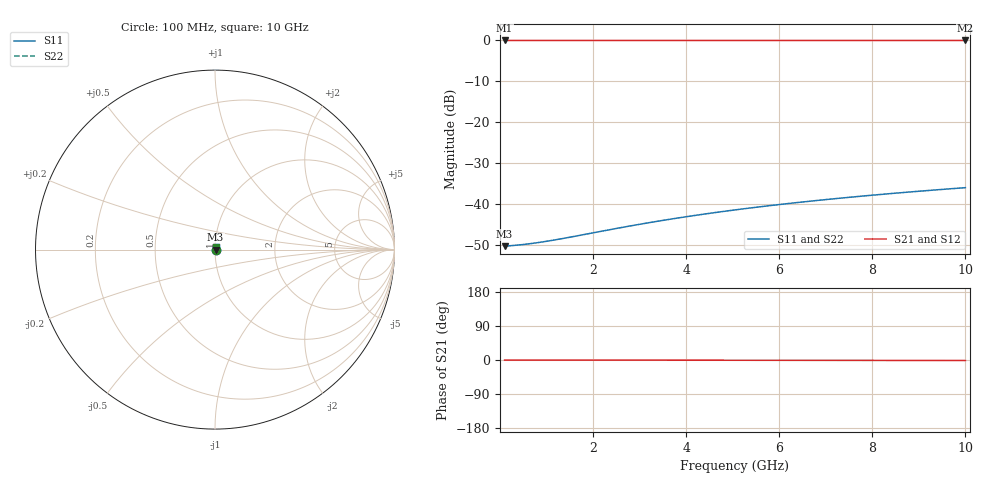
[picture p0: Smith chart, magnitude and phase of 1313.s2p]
# Hz S RI R 50.00
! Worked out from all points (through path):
!   100 points, 100 MHz to 10 GHz, reference 50 ohm
!   highest |S21| = -0.03 dB at 100 MHz (marker M1); lowest = 0.0 dB at 10 GHz (marker M2)
!   lowest |S11| = -50.3 dB at 100 MHz (marker M3), VSWR 1.01, Z = 50.3 + j0.0155 ohm
!   |S11| at or under -10 dB: start of sweep to end of sweep
!   |S22| runs from -50.3 to -36.0 dB; largest |S21 - S12| = 0
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1e8  0.00304 0.000154  0.997 -0.000228  0.997 -0.000228  0.00304 0.000154
3e8  0.00307 0.000461  0.9969 -0.000685  0.9969 -0.000685  0.00307 0.000461
5e8  0.00309 0.000768  0.9969 -0.00114  0.9969 -0.00114  0.00309 0.000768
8e8  0.00312 0.00123  0.9969 -0.00183  0.9969 -0.00183  0.00312 0.00123
1e9  0.00313 0.00154  0.9969 -0.00228  0.9969 -0.00228  0.00313 0.00154
1.2e9  0.00314 0.00184  0.9969 -0.00274  0.9969 -0.00274  0.00314 0.00184
1.5e9  0.00316 0.0023  0.9968 -0.00343  0.9968 -0.00343  0.00316 0.0023
1.8e9  0.00318 0.00276  0.9968 -0.00411  0.9968 -0.00411  0.00318 0.00276
2.7e9  0.00322 0.00415  0.9968 -0.00617  0.9968 -0.00617  0.00322 0.00415
3.1e9  0.00324 0.00476  0.9968 -0.00708  0.9968 -0.00708  0.00324 0.00476
3.4e9  0.00325 0.00522  0.9967 -0.00776  0.9967 -0.00776  0.00325 0.00522
3.8e9  0.00327 0.00583  0.9967 -0.00868  0.9967 -0.00868  0.00327 0.00583
4.2e9  0.00329 0.00645  0.9967 -0.00959  0.9967 -0.00959  0.00329 0.00645
4.6e9  0.00331 0.00706  0.9967 -0.0105  0.9967 -0.0105  0.00331 0.00706
5.1e9  0.00334 0.00783  0.9967 -0.0116  0.9967 -0.0116  0.00334 0.00783
5.5e9  0.00336 0.00844  0.9966 -0.0126  0.9966 -0.0126  0.00336 0.00844
5.9e9  0.00338 0.00906  0.9966 -0.0135  0.9966 -0.0135  0.00338 0.00906
6.7e9  0.00343 0.0103  0.9966 -0.0153  0.9966 -0.0153  0.00343 0.0103
7.5e9  0.00348 0.0115  0.9965 -0.0171  0.9965 -0.0171  0.00348 0.0115
8.4e9  0.00355 0.0129  0.9964 -0.0192  0.9964 -0.0192  0.00355 0.0129
9.2e9  0.00361 0.0141  0.9964 -0.021  0.9964 -0.021  0.00361 0.0141
1e10  0.00367 0.0154  0.9963 -0.0228  0.9963 -0.0228  0.00367 0.0154
